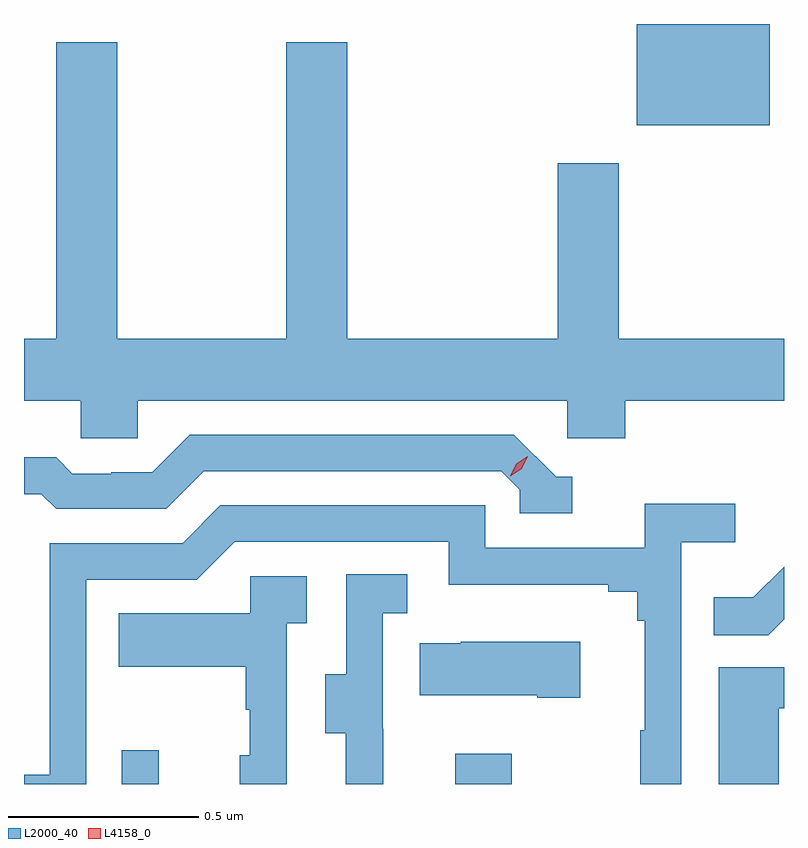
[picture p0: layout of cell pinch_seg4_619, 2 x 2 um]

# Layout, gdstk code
import gdstk
lib = gdstk.Library(unit=1e-6, precision=1e-09)
def R(c, l, rs):  # rectangles x0, y0, x1, y1
    for r in rs: c.add(gdstk.rectangle(r[:2], r[2:], *l))
def P(c, l, *ps):  # polygons
    for p in ps: c.add(gdstk.Polygon(p, *l))
L2000_40 = (2000, 40)
L4158_0 = (4158, 0)

pinch_seg4_619 = lib.new_cell('pinch_seg4_619')
R(pinch_seg4_619, L2000_40, [(1060.209,771.836,1060.307,771.925), (1061.087,771.836,1061.235,771.916), (1061.564,773.57,1061.914,773.836)])
P(pinch_seg4_619, L2000_40, [(1060.251,772.844),(1061.382,772.844),(1061.382,772.746),(1061.534,772.746),(1061.534,772.844),(1061.952,772.844),(1061.952,773.008),(1061.517,773.008),(1061.517,773.47),(1061.357,773.47),(1061.357,773.008),(1060.802,773.008),(1060.802,773.788),(1060.642,773.788),(1060.642,773.008),(1060.197,773.008),(1060.197,773.788),(1060.037,773.788),(1060.037,773.008),(1059.952,773.008),(1059.952,772.844),(1060.101,772.844),(1060.101,772.746),(1060.251,772.746)],
  [(1061.395,772.644),(1061.352,772.644),(1061.241,772.755),(1060.388,772.755),(1060.289,772.656),(1060.182,772.656),(1060.182,772.653),(1060.079,772.653),(1060.037,772.696),(1059.952,772.696),(1059.952,772.599),(1059.998,772.599),(1060.037,772.56),(1060.326,772.56),(1060.425,772.659),(1061.208,772.659),(1061.256,772.611),(1061.256,772.548),(1061.395,772.548)],
  [(1060.116,772.374),(1060.407,772.374),(1060.506,772.473),(1061.07,772.473),(1061.07,772.361),(1061.489,772.361),(1061.489,772.342),(1061.566,772.342),(1061.566,772.265),(1061.585,772.265),(1061.585,771.977),(1061.574,771.977),(1061.574,771.836),(1061.682,771.836),(1061.682,772.472),(1061.824,772.472),(1061.824,772.574),(1061.585,772.574),(1061.585,772.458),(1061.166,772.458),(1061.166,772.569),(1060.469,772.569),(1060.37,772.47),(1060.02,772.47),(1060.02,771.861),(1059.952,771.861),(1059.952,771.836),(1060.116,771.836)],
  [(1061.952,772.269),(1061.952,772.408),(1061.871,772.327),(1061.767,772.327),(1061.767,772.228),(1061.911,772.228)],
  [(1060.898,771.981),(1060.896,771.981),(1060.896,772.285),(1060.96,772.285),(1060.96,772.388),(1060.8,772.388),(1060.8,772.125),(1060.745,772.125),(1060.745,771.97),(1060.799,771.97),(1060.799,771.836),(1060.898,771.836)],
  [(1060.644,772.259),(1060.696,772.259),(1060.696,772.383),(1060.548,772.383),(1060.548,772.285),(1060.201,772.285),(1060.201,772.145),(1060.536,772.145),(1060.536,772.031),(1060.546,772.031),(1060.546,771.912),(1060.52,771.912),(1060.52,771.836),(1060.644,771.836)],
  [(1061.416,772.21),(1061.101,772.21),(1061.101,772.207),(1060.993,772.207),(1060.993,772.07),(1061.303,772.07),(1061.303,772.063),(1061.416,772.063)],
  [(1061.938,772.035),(1061.952,772.035),(1061.952,772.143),(1061.78,772.143),(1061.78,771.836),(1061.938,771.836)])
P(pinch_seg4_619, L4158_0, [(1061.231,772.646),(1061.231,772.646),(1061.247,772.679),(1061.278,772.698),(1061.278,772.698),(1061.278,772.697),(1061.262,772.665),(1061.231,772.646)])

lib.write_gds('pinch_seg4_619.gds')
